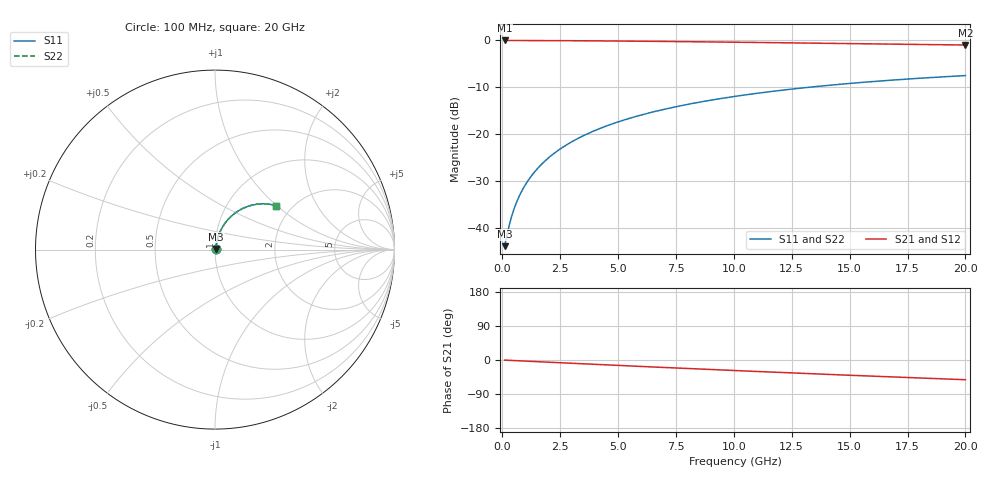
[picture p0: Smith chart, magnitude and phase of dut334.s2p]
! Touchstone file exported from HFSS 2026.1.0
!  File:  C:/ffzhzh/LocalFiles/Ansys_Project_Files/temp_train_TMRDL_334_1783003691_4048.aedt
!  Generated:  10:49:41 PM Jul  2, 2026
!  Design:  TMRDL
!  Project:  temp_train_TMRDL_334_1783003691_4048
! Variables:
!  h_bsmrdl = 2um
!  h_ox = 20um
!  h_rdl = 5um
!  h_sub = 80um
!  h_tmrdl = 4.05um
!  h_tsv = 80um
!  h_via = 3um
!  l_bsmrdl = 300um
!  l_sub = 1237.78um
!  l_tmrdl = 837.78um
!  m_sub = 200um
!  pitch = 29.88um
!  r_tsv = 6um
!  s_tmrdl = 10um
!  w_bsmrdl = 18um
!  w_sub = 500um
!  w_tmrdl = 13.01um
!  x_tsv_center1 = 844.285um
!  x_tsv_center2 = 1162.285um
!  x_tsv_center3 = 2013.075um
!  x_tsv_center4 = 2331.075um
!  x_tsv_center5 = 3181.865um
!  x_tsv_center6 = 3499.865um
# GHz S MA R 50.000000
! Terminal data exported
! Port[1] = TM_RDL1_1_T1
! Port[2] = TM_RDL1_1_T2
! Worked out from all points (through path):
!   200 points, 100 MHz to 20 GHz, reference 50 ohm
!   highest |S21| = -0.05 dB at 100 MHz (marker M1); lowest = -1.0 dB at 20 GHz (marker M2)
!   group delay of S21, straight-line fit = 7.22 ps
!   lowest |S11| = -43.8 dB at 100 MHz (marker M3), VSWR 1.01, Z = 50.6 + j0.304 ohm
!   |S11| at or under -10 dB: start of sweep to 13.27 GHz
!   |S22| runs from -43.8 to -7.5 dB; largest |S21 - S12| = 5.3e-15
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0.1  0.006423 27.9  0.9943 -0.3  0.9943 -0.3  0.006423 27.9
! Gamma 0 0 0 0
! Port Impedance 50 0 50 0
0.3  0.01073 55.2  0.994 -0.9  0.994 -0.9  0.01073 55.2
0.4  0.01325 61.1  0.9938 -1.2  0.9938 -1.2  0.01325 61.1
0.5  0.01582 65.0  0.9936 -1.5  0.9936 -1.5  0.01582 65.0
0.6  0.01843 67.8  0.9934 -1.8  0.9934 -1.8  0.01843 67.8
0.8  0.0237 71.4  0.9931 -2.3  0.9931 -2.3  0.0237 71.4
1  0.02904 73.6  0.9928 -2.9  0.9928 -2.9  0.02904 73.6
1.2  0.03441 74.9  0.9925 -3.5  0.9925 -3.5  0.03441 74.9
1.4  0.03981 75.8  0.9922 -4.1  0.9922 -4.1  0.03981 75.8
1.7  0.04794 76.4  0.9917 -4.9  0.9917 -4.9  0.04794 76.4
2.2  0.06147 76.6  0.9906 -6.4  0.9906 -6.4  0.06147 76.6
2.8  0.07762 76.0  0.989 -8.1  0.989 -8.1  0.07762 76.0
3.5  0.09623 74.8  0.9867 -10.1  0.9867 -10.1  0.09623 74.8
4.2  0.1145 73.3  0.9841 -12.0  0.9841 -12.0  0.1145 73.3
5  0.135 71.4  0.9807 -14.3  0.9807 -14.3  0.135 71.4
5.9  0.1575 69.2  0.9764 -16.8  0.9764 -16.8  0.1575 69.2
6.8  0.1794 66.9  0.9718 -19.2  0.9718 -19.2  0.1793 67.0
8.3  0.2142 63.2  0.9634 -23.2  0.9634 -23.2  0.2142 63.2
10.1  0.2536 58.7  0.9525 -28.0  0.9525 -28.0  0.2536 58.7
13.4  0.3186 50.7  0.9313 -36.3  0.9313 -36.3  0.3186 50.7
16.7  0.3742 43.0  0.9097 -44.4  0.9097 -44.4  0.3741 43.0
20  0.4203 35.6  0.8892 -52.0  0.8892 -52.0  0.4202 35.7
